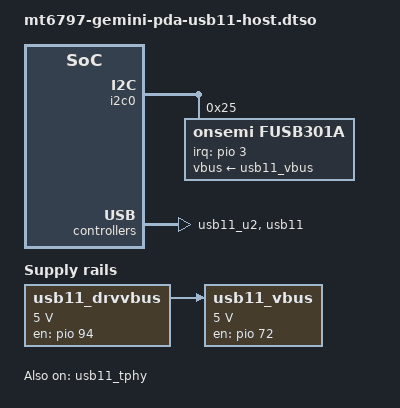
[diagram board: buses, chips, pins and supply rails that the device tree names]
// SPDX-License-Identifier: GPL-2.0-only
/*
 * Planet Computers Gemini PDA right USB-C host overlay.
 *
 * This is an explicit host-only recovery-test overlay.  The base Gemini DT
 * intentionally leaves USB11 and I2C0 disabled.  Applying this overlay:
 *
 *   - enables the existing MT6797 USB11 MUSB controller in its base-DT host
 *     mode and its USB2 PHY;
 *   - instantiates only the FUSB301A measured on I2C0 at 0x25; and
 *   - lets the existing FUSB301 driver enable the VBUS regulator chain only
 *     after it has identified a Type-C sink over CC.
 *
 * Evidence:
 * - The vendor FUSB301A path initializes GPIO70 high, GPIO71 low, GPIO72 low,
 *   and GPIO94 low; after a valid CC attach it enables GPIO94, and enables
 *   GPIO72 only in the USB1-OTG path:
 *   gemini-linux-kernel-3.18/drivers/misc/mediatek/usb_c/fusb302/
 *   usb_typec.c:96-167.
 * - A retained vendor-kernel runtime capture identifies FUSB301A at I2C0/0x25
 *   and its attach signal as GPIO64/EINT3; it identifies USB1 MUSB as the
 *   host path: gemini-pda-mainline/experiments/2026-07-12-usb-typec-recovery/
 *   results/runtime-usb-typec-battery-recovery-20260714.txt:13-25.
 * - Upstream MT6797 maps GPIO64 to EINT3, unlike the vendor pseudo-node's
 *   GPIO-number interrupt specifier: include/dt-bindings/pinctrl/
 *   mt6797-pinfunc.h:364-365.  The mainline MTK EINT driver implements a
 *   both-edge interrupt by flipping hardware edges, so this observes both
 *   attach and detach: drivers/pinctrl/mediatek/mtk-eint.c:106-128,182-228.
 *
 * GPIO70/71 select the vendor's ordinary right-port data path.  HDMI and
 * accessory switching are deliberately absent.  GPIO94 and GPIO72 are kept
 * low until the FUSB301A driver sees a sink, then modelled as a parent/child
 * fixed-regulator chain rather than raw charger-register writes.  This is not
 * a charging, device-mode, dual-role, or USB-PD implementation.
 */

/dts-v1/;
/plugin/;

#include <dt-bindings/gpio/gpio.h>
#include <dt-bindings/interrupt-controller/irq.h>
#include <dt-bindings/pinctrl/mt6797-pinfunc.h>

&{/} {
	/* Vendor usb1_drvvbus: GPIO94 high supplies the USB1 VBUS switch. */
	usb11_drvvbus: regulator-usb11-drvvbus {
		compatible = "regulator-fixed";
		regulator-name = "usb11-drvvbus";
		regulator-min-microvolt = <5000000>;
		regulator-max-microvolt = <5000000>;
		gpio = <&pio 94 GPIO_ACTIVE_HIGH>;
		enable-active-high;
	};

	/* Vendor sw7226_en: GPIO72 is downstream of usb1_drvvbus. */
	usb11_vbus: regulator-usb11-vbus {
		compatible = "regulator-fixed";
		regulator-name = "usb11-vbus";
		regulator-min-microvolt = <5000000>;
		regulator-max-microvolt = <5000000>;
		gpio = <&pio 72 GPIO_ACTIVE_HIGH>;
		enable-active-high;
		vin-supply = <&usb11_drvvbus>;
	};
};

&pio {
	usb11_fusb301a_pins: usb11-fusb301a-pins {
		/*
		 * GPIO64 is EINT3 on mainline MT6797, not EINT64.  Do not add a
		 * bias setting: the current MT6797 pinctrl descriptor has no pull
		 * register map and would reject it while selecting this state.
		 */
		pins-attach {
			pinmux = <MT6797_GPIO64__FUNC_EINT3>;
		};

		/* Vendor initial FUSB301A switch selection: GPIO70=1, GPIO71=0. */
		pins-data-mux-enable {
			pinmux = <MT6797_GPIO70__FUNC_GPIO70>;
			output-high;
		};

		pins-data-mux-select {
			pinmux = <MT6797_GPIO71__FUNC_GPIO71>;
			output-low;
		};
	};
};

&i2c0 {
	#address-cells = <1>;
	#size-cells = <0>;
	pinctrl-names = "default";
	pinctrl-0 = <&i2c0_pins_a>;
	status = "okay";

	fusb301a: typec@25 {
		compatible = "onsemi,fusb301a";
		reg = <0x25>;
		interrupt-parent = <&pio>;
		interrupts = <3 IRQ_TYPE_EDGE_BOTH>;
		pinctrl-names = "default";
		pinctrl-0 = <&usb11_fusb301a_pins>;
		vbus-supply = <&usb11_vbus>;

		connector {
			compatible = "usb-c-connector";
			label = "Gemini right USB-C";
			power-role = "source";
			data-role = "host";
			typec-power-opmode = "default";
			pd-disable;
		};
	};
};

&usb11_tphy {
	status = "okay";
};

&usb11_u2 {
	status = "okay";
};

&usb11 {
	status = "okay";
};
